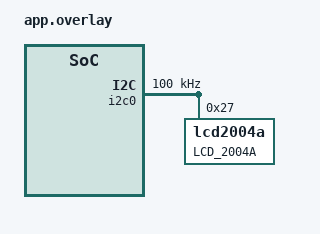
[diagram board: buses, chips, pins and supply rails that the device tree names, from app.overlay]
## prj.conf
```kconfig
CONFIG_MAIN_STACK_SIZE=2048
CONFIG_I2C=y
CONFIG_I2C_INIT_PRIORITY=60
CONFIG_LOG=y
CONFIG_LOG_MODE_IMMEDIATE=y
#CONFIG_POSIX_CLOCK=y
#CONFIG_POSIX_CLOCK=n
```

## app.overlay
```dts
&i2c0 {
    status = "okay";
    pinctrl-0 = <&i2c0_default>;
    pinctrl-names = "default";
    clock-frequency = <I2C_BITRATE_STANDARD>;
    
    lcd2004a@27 {
        compatible = "lcd2004a";
        reg = <0x27>;  // Common PCF8574 I2C address
        label = "LCD_2004A";
    };
};
```

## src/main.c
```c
#include "lcd.h"
#include <zephyr/sys/printk.h>


static int64_t time_offset_ms = 0;

void set_time(int64_t seconds)
{
    time_offset_ms = seconds * 1000 - k_uptime_get();
}

void get_time(int64_t *hours, int64_t *minutes, int64_t *seconds)
{
    int64_t total_ms = k_uptime_get() + time_offset_ms;
    int64_t total_sec = total_ms / 1000;

    *hours = (total_sec / 3600) % 24;
    *minutes = (total_sec / 60) % 60;
    *seconds = total_sec % 60;
}

void convert_into_string(uint8_t *str,int64_t hr,int64_t min,int64_t sec){
    str[0]=(hr/10)+48;
    str[1]=(hr%10)+48;
    str[2]=':';

    str[3]=(min/10)+48;
    str[4]=(min%10)+48;
    str[5]=':';
    
    str[6]=(sec/10)+48;
    str[7]=(sec%10)+48;
    str[8]='\0';
}

int main(void) {
    uint8_t str[9];

    int64_t hr, min, sec;
    
    set_time(5 * 3600 + 3 * 60);
   // k_uptime_set(10000);
  

    const struct device *i2c_dev = DEVICE_DT_GET(DT_NODELABEL(i2c0));
    
    if (!device_is_ready(i2c_dev)) {
        printk("I2C not ready!\n");
        return 0;
    }

    lcd_init(i2c_dev);
    
    while(1){   
   // if(i>3){i=0;}
        
        lcd_send_cmd(i2c_dev,0x80);
        lcd_print(i2c_dev,"GHANSHYAM PATIDAR");
        lcd_send_cmd(i2c_dev,0xc0);
        lcd_print(i2c_dev,"Current time:- ");
        lcd_send_cmd(i2c_dev,0x94);
        lcd_print(i2c_dev,str);
        k_msleep(1000);
       
        // lcd_send_cmd(i2c_dev,0x01);
       // k_msleep(2); 

        convert_into_string(str,hr,min,sec);
        get_time(&hr, &min, &sec);
        printk("Current time: %02lld:%02lld:%02lld\n", hr, min, sec);
       
        //k_sleep(K_SECONDS(1));
    }
    while(1);
}
```
